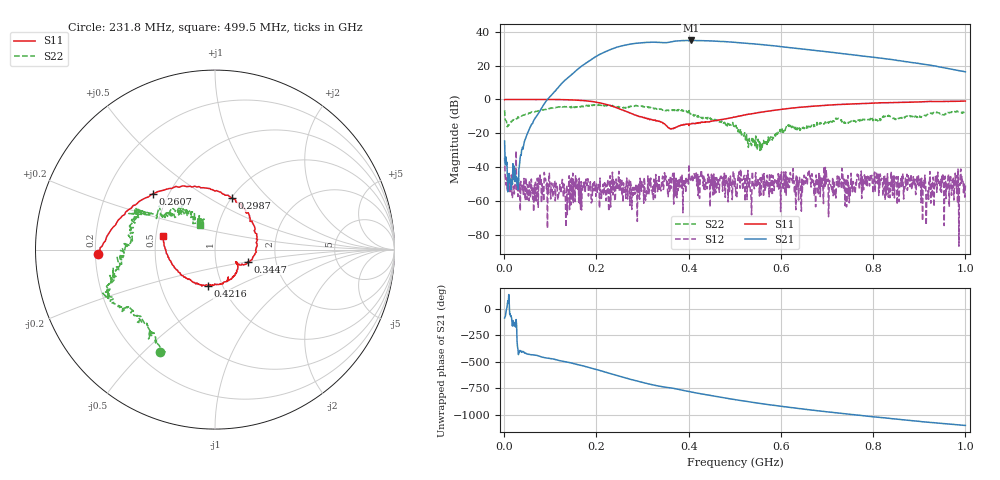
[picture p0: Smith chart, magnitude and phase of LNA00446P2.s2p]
! Created with skrf 1.9.0 (http://scikit-rf.org).
# Hz S RI R 50.0
!freq ReS11 ImS11 ReS21 ImS21 ReS12 ImS12 ReS22 ImS22
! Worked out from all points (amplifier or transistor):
!   1001 points, 1 MHz to 1 GHz, reference 50 ohm
!   highest |S21| = 34.8 dB at 404.6 MHz (marker M1)
!   |S21| within 3 dB of that: 258.5 MHz to 579 MHz (320.5 MHz wide, 76.5 % of centre)
!   unconditionally stable (mu >= 1): 208.2 MHz to 234.7 MHz; 234.9 MHz to 400.4 MHz; 400.9 MHz to end of sweep (the widest 3 of 35)
!   at 166.8 MHz: K = 1.20, MAG = 31.2 dB, |S12| = -48.5 dB
!   at 500.5 MHz: K = 2.14, MAG = 34.2 dB, |S12| = -46.8 dB
!   at 1 GHz: K = 4.29, MAG = 24.3 dB, |S12| = -50.8 dB
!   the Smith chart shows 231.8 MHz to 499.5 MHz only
!   S11 on the Smith chart (normalised r, x): 231.8 MHz: 0.21, -0.02; 260.7 MHz: 0.41, +0.33; 298.7 MHz: 1.01, +0.64; 344.7 MHz: 1.43, -0.20; 421.6 MHz: 0.86, -0.36; 499.5 MHz: 0.54, +0.09
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1000000  0.9835 0.0173  0.00226 -0.0595  -0.0175 0.0078  0.3417 0.3377
1.08892e8  0.5288 -0.8435  -0.774 -1.484  0.00225 -0.00327  0.4297 -0.3811
1.67833e8  -0.2219 -0.906  -9.604 -0.6557  0.000163 0.00052  0.029 -0.637
2.06794e8  -0.6552 -0.4503  -15.77 14.3  -0.000583 0.000224  -0.1719 -0.6483
2.31769e8  -0.6502 -0.0266  -8.075 29.08  -0.00346 -0.00174  -0.3067 -0.5682
2.6074e8  -0.3454 0.3104  14.02 37.16  -0.00157 0.000918  -0.4129 -0.396
2.79721e8  -0.1004 0.3485  30.23 32.4  0.00125 -0.000771  -0.5835 -0.2809
2.98702e8  0.0949 0.2876  42.3 20.56  -0.00311 0.00135  -0.5906 -0.2294
3.34666e8  0.2263 -0.00587  47.78 -8.511  0.00155 0.00145  -0.5215 -0.0404
3.44656e8  0.183 -0.0666  44.97 -14.67  -0.000456 -0.00216  -0.5075 0.0353
3.73627e8  0.1279 -0.0858  42.3 -32.42  -0.00163 0.00232  -0.4335 0.1805
4.04596e8  0.0468 -0.1833  22.89 -50.17  0.00378 0.00177  -0.3269 0.173
4.21579e8  -0.0381 -0.2014  10 -53.53  0.00334 0.00412  -0.2388 0.1895
4.55545e8  -0.1926 -0.1383  -14.35 -50.8  0.000198 0.0016  -0.1471 0.2005
4.99501e8  -0.2906 0.0779  -35.58 -33.13  0.00228 -0.000771  -0.0813 0.1352
5.005e8  -0.289 0.0827  -36.44 -32.55  -0.00163 -0.00426  -0.0993 0.1434
5.65435e8  -0.1617 0.4048  -40.73 0.4309  -0.000644 -0.00179  -0.0618 -0.00339
6.11389e8  0.0372 0.5298  -31.04 15.58  0.0012 -0.000889  -0.1361 -0.066
6.67333e8  0.3144 0.5451  -15.58 23.85  0.00431 -0.00477  -0.1564 -0.0656
7.55245e8  0.6371 0.3735  3.241 20.51  -0.00158 -0.00104  -0.2176 -0.0102
8.34166e8  0.7904 0.143  10.77 11  -0.00332 0.00121  -0.3266 -0.0568
1e9  0.8103 -0.3851  6.077 -2.422  -0.00123 -0.00261  -0.3869 0.1479
